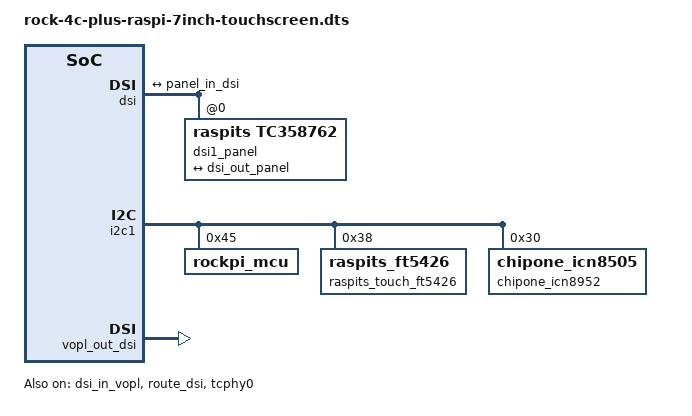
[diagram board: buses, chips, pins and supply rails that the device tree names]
/dts-v1/;
/plugin/;

/ {
	metadata {
		title = "Enable Raspberry Pi 7-inch Touchscreen";
		compatible = "radxa,rock-4c-plus";
		category = "display";
		exclusive = "dsi";
		description = "Enable Raspberry Pi 7-inch Touchscreen";
	};
};

&dsi {
	status = "okay";
	#address-cells = <1>;
	#size-cells = <0>;
	rockchip,lane-rate = <696>;

	dsi1_panel: dsi-panel@0 {
		compatible = "raspits,tc358762";
		reg = <0x0>;
		status = "okay";

		display_timings0: display-timings {
			native-mode = <&dsi0_timing>;

			dsi0_timing: timing0 {
				clock-frequency = <26000000>;
				hactive = <800>;
				vactive = <480>;

				hsync-len = <5>;
				hback-porch = <40>;
				hfront-porch = <1>;

				vsync-len = <1>;
				vback-porch = <21>;
				vfront-porch = <7>;

				hsync-active = <0>;
				vsync-active = <0>;
				de-active = <0>;
				pixelclk-active = <0>;
			};
		};

		ports {
			#address-cells = <1>;
			#size-cells = <0>;

			port@0 {
				reg = <0>;
				panel_in_dsi: endpoint {
					remote-endpoint = <&dsi_out_panel>;
				};
			};
		};
	};

	ports {
		#address-cells = <1>;
		#size-cells = <0>;

		port@1 {
			reg = <1>;
			#address-cells = <1>;
			#size-cells = <0>;

			dsi_out_panel: endpoint@0 {
				reg = <0>;
				remote-endpoint = <&panel_in_dsi>;
			};
		};
	};
};

&i2c1 {
	status = "okay";
	#address-cells = <1>;
	#size-cells = <0>;

	rockpi_mcu: rockpi-mcu@45 {
		compatible = "rockpi_mcu";
		reg = <0x45>;
	};

	raspits_touch_ft5426: raspits-touch-ft5426@38 {
		compatible = "raspits_ft5426";
		reg = <0x38>;
	};

	chipone_icn8952: chipone_icn8952@30 {
		compatible = "chipone_icn8505";
		reg = <0x30>;
	};
};

&vopl_out_dsi {
	status = "okay";
};

&dsi_in_vopl {
	status = "okay";
};

&dsi_in_vopb {
	status = "disabled";
};

&route_dsi {
	status = "okay";
	connect = <&vopl_out_dsi>;
};

&vcc3v3_dp {
	status = "disabled";
};

&tcphy0 {
	extcon = <0>;
	status = "okay";
};

&cdn_dp {
	status = "disabled";
};

&tcphy0_dp {
	status = "disabled";
};

&dp_in_vopl {
	status = "disabled";
};

&dp_in_vopb {
	status = "disabled";
};
